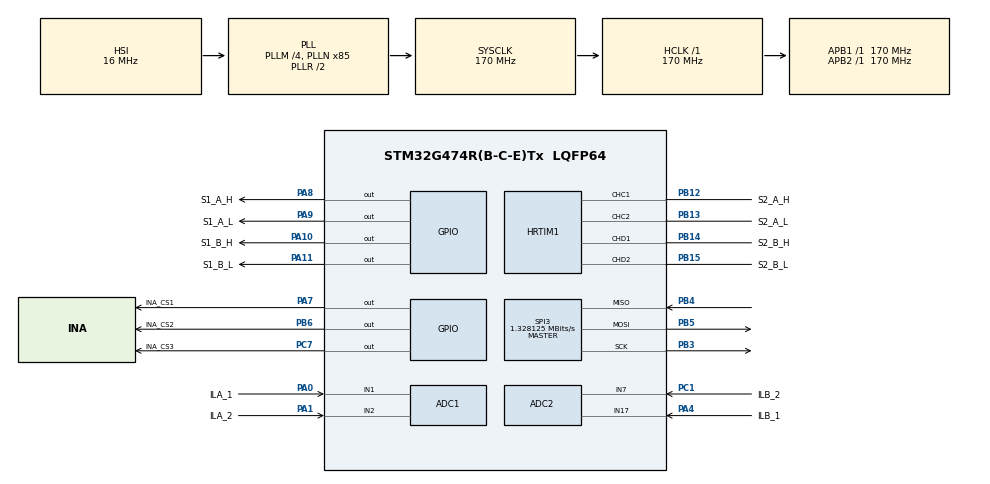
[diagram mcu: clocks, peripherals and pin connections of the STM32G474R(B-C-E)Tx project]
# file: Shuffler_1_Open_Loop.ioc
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ADC1.Channel-0\#ChannelRegularConversion=ADC_CHANNEL_1
ADC1.NbrOfConversionFlag=1
ADC1.OffsetNumber-0\#ChannelRegularConversion=ADC_OFFSET_NONE
ADC1.Rank-0\#ChannelRegularConversion=1
ADC1.SamplingTime-0\#ChannelRegularConversion=ADC_SAMPLETIME_2CYCLES_5
ADC1.master=1
ADC2.Channel-0\#ChannelRegularConversion=ADC_CHANNEL_7
ADC2.NbrOfConversionFlag=1
ADC2.OffsetNumber-0\#ChannelRegularConversion=ADC_OFFSET_NONE
ADC2.Rank-0\#ChannelRegularConversion=1
ADC2.SamplingTime-0\#ChannelRegularConversion=ADC_SAMPLETIME_2CYCLES_5
Mcu.Family=STM32G4
Mcu.Name=STM32G474R(B-C-E)Tx
Mcu.Package=LQFP64
NUCLEO-G474RE.BUTTON=1
NUCLEO-G474RE.LD2=true
NUCLEO-G474RE.VCP=true
NVIC.EXTI15_10_IRQn=true\:0\:0\:false\:false\:true\:false\:true\:true
NVIC.PriorityGroup=NVIC_PRIORITYGROUP_4
PA0.GPIO_Label=ILA_1
PA0.Mode=IN1-Single-Ended
PA0.Signal=ADC1_IN1
PA1.GPIO_Label=ILA_2
PA1.Mode=IN2-Single-Ended
PA1.Signal=ADC1_IN2
PA10.GPIO_Label=S1_B_H
PA10.Signal=GPIO_Output
PA11.GPIO_Label=S1_B_L
PA11.Signal=GPIO_Output
PA13.GPIO_Label=T_SWDIO
PA13.Signal=SYS_JTMS-SWDIO
PA14.GPIO_Label=T_SWCLK
PA14.Signal=SYS_JTCK-SWCLK
PA2.Signal=LPUART1_TX
PA3.Signal=LPUART1_RX
PA4.GPIO_Label=ILB_1
PA4.Mode=IN17-Single-Ended
PA4.Signal=ADC2_IN17
PA7.GPIO_Label=INA_CS1
PA7.PinState=GPIO_PIN_SET
PA7.Signal=GPIO_Output
PA8.GPIO_Label=S1_A_H
PA8.Signal=GPIO_Output
PA9.GPIO_Label=S1_A_L
PA9.Signal=GPIO_Output
PB12.GPIO_Label=S2_A_H
PB12.Mode=Output_TC1TC2
PB12.Signal=HRTIM1_CHC1
PB13.GPIO_Label=S2_A_L
PB13.Mode=Output_TC1TC2
PB13.Signal=HRTIM1_CHC2
PB14.GPIO_Label=S2_B_H
PB14.Mode=Output_TD1TD2
PB14.Signal=HRTIM1_CHD1
PB15.GPIO_Label=S2_B_L
PB15.Mode=Output_TD1TD2
PB15.Signal=HRTIM1_CHD2
PB3.Mode=Full_Duplex_Master
PB3.Signal=SPI3_SCK
PB4.Mode=Full_Duplex_Master
PB4.Signal=SPI3_MISO
PB5.Mode=Full_Duplex_Master
PB5.Signal=SPI3_MOSI
PB6.GPIO_Label=INA_CS2
PB6.PinState=GPIO_PIN_SET
PB6.Signal=GPIO_Output
PC1.GPIO_Label=ILB_2
PC1.Mode=IN7-Single-Ended
PC1.Signal=ADC2_IN7
PC14-OSC32_IN.GPIO_Label=RCC_OSC32_IN
PC14-OSC32_IN.Signal=RCC_OSC32_IN
PC15-OSC32_OUT.GPIO_Label=RCC_OSC32_OUT
PC15-OSC32_OUT.Signal=RCC_OSC32_OUT
PC7.GPIO_Label=INA_CS3
PC7.PinState=GPIO_PIN_SET
PC7.Signal=GPIO_Output
PF0-OSC_IN.GPIO_Label=RCC_OSC_IN
PF0-OSC_IN.Signal=RCC_OSC_IN
PF1-OSC_OUT.GPIO_Label=RCC_OSC_OUT
PF1-OSC_OUT.Signal=RCC_OSC_OUT
ProjectManager.HeapSize=0x200
ProjectManager.StackSize=0x400
ProjectManager.TargetToolchain=CMake
RCC.ADC12Freq_Value=170000000
RCC.ADC345Freq_Value=170000000
RCC.AHBFreq_Value=170000000
RCC.APB1Freq_Value=170000000
RCC.APB1TimFreq_Value=170000000
RCC.APB2Freq_Value=170000000
RCC.APB2TimFreq_Value=170000000
RCC.CortexFreq_Value=170000000
RCC.EXTERNAL_CLOCK_VALUE=12288000
RCC.HCLKFreq_Value=170000000
RCC.HSE_VALUE=24000000
RCC.HSI48_VALUE=48000000
RCC.HSI_VALUE=16000000
RCC.LSE_VALUE=32768
RCC.PLLM=RCC_PLLM_DIV4
RCC.PLLN=85
RCC.RTCClockSelection=RCC_RTCCLKSOURCE_LSE
RCC.SYSCLKFreq_VALUE=170000000
RCC.SYSCLKSource=RCC_SYSCLKSOURCE_PLLCLK
RCC.USBFreq_Value=170000000
RCC.VCOOutputFreq_Value=340000000
SPI3.BaudRatePrescaler=SPI_BAUDRATEPRESCALER_128
SPI3.CLKPhase=SPI_PHASE_2EDGE
SPI3.CalculateBaudRate=1.328125 MBits/s
SPI3.DataSize=SPI_DATASIZE_8BIT
SPI3.Direction=SPI_DIRECTION_2LINES
SPI3.Mode=SPI_MODE_MASTER
SPI3.VirtualType=VM_MASTER
VP_NUCLEO-G474RE_VS_BSP_COMMON.Mode=COMMON
VP_SYS_VS_DBSignals.Mode=DisableDeadBatterySignals
board=NUCLEO-G474RE

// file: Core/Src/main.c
/* USER CODE BEGIN Header */
/**
  ******************************************************************************
  * @file           : main.c
  * @brief          : Main program body
  ******************************************************************************
  * @attention
  *
  * Copyright (c) 2026 STMicroelectronics.
  * All rights reserved.
  *
  * This software is licensed under terms that can be found in the LICENSE file
  * in the root directory of this software component.
  * If no LICENSE file comes with this software, it is provided AS-IS.
  *
  ******************************************************************************
  */
/* USER CODE END Header */
#include "main.h"
#include "adc.h"
#include "hrtim.h"
#include "spi.h"
#include "gpio.h"

/* USER CODE BEGIN Includes */
#include "app.h"
#include "shuffler_hw.h"
#include "comms.h"
#include "ina2x9.h"
#include "sensors.h"
#include "shuffler_hw.h"
/* USER CODE END Includes */

COM_InitTypeDef BspCOMInit;

/* USER CODE BEGIN PV */
COM_InitTypeDef BspCOMInit;
/* USER CODE END PV */

void SystemClock_Config(void);

/* USER CODE BEGIN 0 */
/* Gate lines are driven low before main() by shuffler_hw.c (constructor). */
/* USER CODE END 0 */

int main(void)
{

  /* USER CODE BEGIN 1 */
  hw_outputs_off();   /* gates low as GPIO until the HRTIM owns them */
/* USER CODE END 1 */

  /* MCU Configuration--------------------------------------------------------*/

  /* Reset of all peripherals, Initializes the Flash interface and the Systick. */
  HAL_Init();

  /* Configure the system clock */
  SystemClock_Config();

  /* Initialize all configured peripherals */
  MX_GPIO_Init();
  MX_HRTIM1_Init();
  MX_ADC1_Init();
  MX_ADC2_Init();
  MX_SPI3_Init();

  /* Initialize led */
  BSP_LED_Init(LED_GREEN);

  /* Initialize USER push-button, will be used to trigger an interrupt each time it's pressed.*/
  BSP_PB_Init(BUTTON_USER, BUTTON_MODE_EXTI);

  /* Initialize COM1 port (115200, 8 bits (7-bit data + 1 stop bit), no parity */
  BspCOMInit.BaudRate   = 115200;
  BspCOMInit.WordLength = COM_WORDLENGTH_8B;
  BspCOMInit.StopBits   = COM_STOPBITS_1;
  BspCOMInit.Parity     = COM_PARITY_NONE;
  BspCOMInit.HwFlowCtl  = COM_HWCONTROL_NONE;
  if (BSP_COM_Init(COM1, &BspCOMInit) != BSP_ERROR_NONE)
  {
    Error_Handler();
  }

  /* Infinite loop */
  /* USER CODE BEGIN WHILE */
  /* The generated BSP code above opened COM1 at 115200: reopen at the telemetry rate. */
  (void)HAL_UART_DeInit(&hcom_uart[COM1]);
  BspCOMInit.BaudRate = COMMS_BAUD;
  if (BSP_COM_Init(COM1, &BspCOMInit) != BSP_ERROR_NONE)
  {
    Error_Handler();
  }
  Sensors_Init();      /* hall ADC + DMA armed on the HRTIM triggers */
  INA_Init();
  INA_Poll();
  hw_init();           /* HRTIM: master tick + four legs + ADC triggers, outputs disabled */
  (void)Sensors_ZeroCal();   /* zero offsets from the running (non-switching) sampling chain */
  app_init();
  while (1)
  {
    app_poll();
/* USER CODE END WHILE */

  }
}

void SystemClock_Config(void)
{
  RCC_OscInitTypeDef RCC_OscInitStruct = {0};
  RCC_ClkInitTypeDef RCC_ClkInitStruct = {0};

  /** Configure the main internal regulator output voltage
  */
  HAL_PWREx_ControlVoltageScaling(PWR_REGULATOR_VOLTAGE_SCALE1_BOOST);

  /** Initializes the RCC Oscillators according to the specified parameters
  * in the RCC_OscInitTypeDef structure.
  */
  RCC_OscInitStruct.OscillatorType = RCC_OSCILLATORTYPE_HSI;
  RCC_OscInitStruct.HSIState = RCC_HSI_ON;
  RCC_OscInitStruct.HSICalibrationValue = RCC_HSICALIBRATION_DEFAULT;
  RCC_OscInitStruct.PLL.PLLState = RCC_PLL_ON;
  RCC_OscInitStruct.PLL.PLLSource = RCC_PLLSOURCE_HSI;
  RCC_OscInitStruct.PLL.PLLM = RCC_PLLM_DIV4;
  RCC_OscInitStruct.PLL.PLLN = 85;
  RCC_OscInitStruct.PLL.PLLP = RCC_PLLP_DIV2;
#if HW_PWM_KHZ >= 400
  RCC_OscInitStruct.PLL.PLLP = RCC_PLLP_DIV6;   /* 340 MHz VCO / 6 = 56.7 MHz for the hall ADCs (adc.c, async clock) */
#endif
  RCC_OscInitStruct.PLL.PLLQ = RCC_PLLQ_DIV2;
  RCC_OscInitStruct.PLL.PLLR = RCC_PLLR_DIV2;
  if (HAL_RCC_OscConfig(&RCC_OscInitStruct) != HAL_OK)
  {
    Error_Handler();
  }

  /** Initializes the CPU, AHB and APB buses clocks
  */
  RCC_ClkInitStruct.ClockType = RCC_CLOCKTYPE_HCLK|RCC_CLOCKTYPE_SYSCLK
                              |RCC_CLOCKTYPE_PCLK1|RCC_CLOCKTYPE_PCLK2;
  RCC_ClkInitStruct.SYSCLKSource = RCC_SYSCLKSOURCE_PLLCLK;
  RCC_ClkInitStruct.AHBCLKDivider = RCC_SYSCLK_DIV1;
  RCC_ClkInitStruct.APB1CLKDivider = RCC_HCLK_DIV1;
  RCC_ClkInitStruct.APB2CLKDivider = RCC_HCLK_DIV1;

  if (HAL_RCC_ClockConfig(&RCC_ClkInitStruct, FLASH_LATENCY_4) != HAL_OK)
  {
    Error_Handler();
  }
#if HW_PWM_KHZ >= 400
  {
    /* hand-added (CubeMX regeneration drops it): ADC1/2 on the PLL P output, see shuffler_hw.h */
    RCC_PeriphCLKInitTypeDef pclk = {0};
    pclk.PeriphClockSelection = RCC_PERIPHCLK_ADC12;
    pclk.Adc12ClockSelection = RCC_ADC12CLKSOURCE_PLL;
    if (HAL_RCCEx_PeriphCLKConfig(&pclk) != HAL_OK) Error_Handler();
  }
#endif
}

/* USER CODE BEGIN 4 */
/* Control tick from the HRTIM master repetition event (10 kHz). */
void hw_ctrl_tick_callback(void)
{
  app_ctrl_isr();
}

/* B1 (blue button): toggle enable in the selected mode. */
void BSP_PB_Callback(Button_TypeDef Button)
{
  if (Button == BUTTON_USER)
  {
    const char *why = NULL;
    (void)app_req_enable(app_faults() == 0U, &why);
  }
}
/* USER CODE END 4 */

void Error_Handler(void)
{
  /* USER CODE BEGIN Error_Handler_Debug */
  /* Reached from a failed HAL call and from the CPU fault handlers. The
     overcurrent latch and the button both live in interrupts, which stop
     here, so the power stage must not be left switching. */
  __disable_irq();
  hw_outputs_off();

  /* LD2 (PA5): two short flashes, then a pause - not the even 5 Hz blink of
     the overcurrent latch. Busy-wait delays: the tick no longer runs. */
  MODIFY_REG(GPIOA->MODER, GPIO_MODER_MODE5, GPIO_MODER_MODE5_0);
  while (1)
  {
    for (uint32_t step = 0; step < 10U; step++)
    {
      if (step == 0U || step == 2U)
      {
        GPIOA->BSRR = GPIO_PIN_5;
      }
      else
      {
        GPIOA->BRR = GPIO_PIN_5;
      }
      for (volatile uint32_t n = SystemCoreClock / 100U; n != 0U; n--)
      {
      }
    }
  }
  /* USER CODE END Error_Handler_Debug */
}
